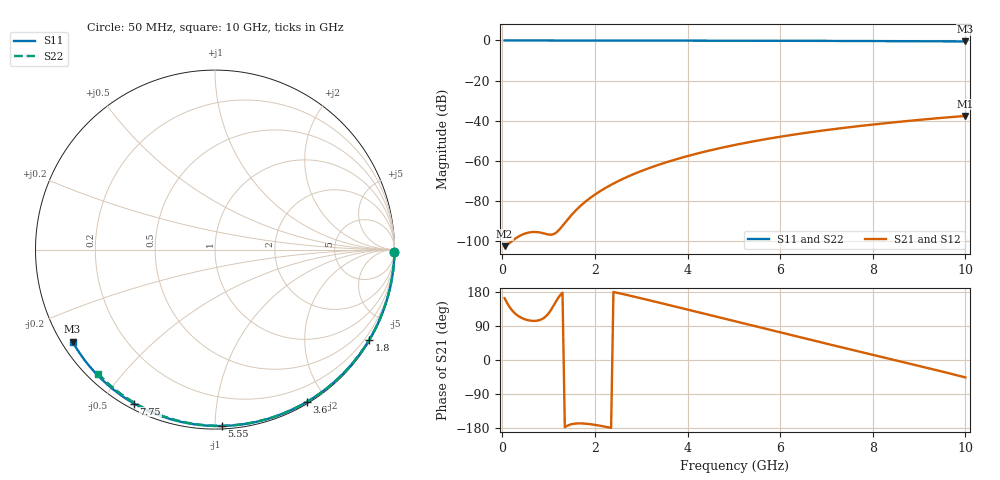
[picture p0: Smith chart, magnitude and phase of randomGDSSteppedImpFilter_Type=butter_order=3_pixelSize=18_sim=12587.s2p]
! freq	dB(S11)	phase(S11)	dB(S12)	phase(S12)
!  dB(S21)	phase(S21)	dB(S22)	phase(S22)
!S-par simulation data
#  GHz  S  DB  R 50
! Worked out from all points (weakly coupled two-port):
!   200 points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, 50 MHz to 10 GHz, reference 50 ohm
!   highest |S21| = -37.69 dB at 10 GHz (marker M1); lowest = -102.7 dB at 50 MHz (marker M2)
!   lowest |S11| = -0.5 dB at 10 GHz (marker M3), VSWR 35.48, Z = 1.53 - j14.8 ohm
!   |S11| at or under -10 dB: nowhere
!   |S22| runs from -0.5 to 0.0 dB; largest |S21 - S12| = 0
!   S11 on the Smith chart (normalised r, x): 50 MHz: open; 1.8 GHz: 0.03, -3.70; 3.6 GHz: 0.02, -1.77; 5.55 GHz: 0.02, -1.04; 7.75 GHz: 0.02, -0.60; 10 GHz: 0.03, -0.30
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0.05  -0.00 -0.9  -102.69 163.0  -102.69 163.0  -0.00 -0.8
0.45  -0.01 -7.7  -96.75 109.3  -96.75 109.3  -0.01 -6.9
0.9  -0.02 -15.3  -96.33 111.1  -96.33 111.1  -0.02 -13.8
1.3  -0.03 -22.0  -92.52 177.7  -92.52 177.7  -0.02 -19.8
1.75  -0.04 -29.4  -81.35 -167.6  -81.35 -167.6  -0.03 -26.6
1.8  -0.04 -30.2  -80.38 -168.0  -80.38 -168.0  -0.03 -27.3
1.85  -0.04 -31.1  -79.47 -168.6  -79.47 -168.6  -0.04 -28.0
2.05  -0.04 -34.3  -76.17 -172.1  -76.17 -172.1  -0.04 -31.0
2.2  -0.05 -36.8  -74.01 -175.4  -74.01 -175.4  -0.04 -33.2
2.5  -0.05 -41.6  -70.26 176.9  -70.26 176.9  -0.05 -37.6
2.9  -0.06 -48.0  -66.12 165.7  -66.12 165.7  -0.06 -43.4
3.4  -0.07 -55.9  -61.87 151.0  -61.87 151.0  -0.07 -50.6
3.6  -0.08 -59.0  -60.39 145.0  -60.39 145.0  -0.07 -53.4
4.3  -0.10 -69.6  -55.92 124.0  -55.92 124.0  -0.09 -63.1
5.05  -0.12 -80.6  -52.03 101.4  -52.03 101.4  -0.11 -73.1
5.55  -0.14 -87.8  -49.83 86.3  -49.83 86.3  -0.13 -79.7
6.1  -0.17 -95.5  -47.69 69.8  -47.69 69.8  -0.15 -86.7
6.7  -0.20 -103.7  -45.65 52.0  -45.65 52.0  -0.18 -94.3
7.75  -0.27 -117.7  -42.62 21.2  -42.62 21.2  -0.25 -107.0
8.35  -0.32 -125.6  -41.13 3.7  -41.13 3.7  -0.29 -114.1
9.2  -0.40 -136.6  -39.23 -21.4  -39.23 -21.4  -0.37 -124.0
10  -0.49 -147.1  -37.69 -46.0  -37.69 -46.0  -0.45 -133.2
